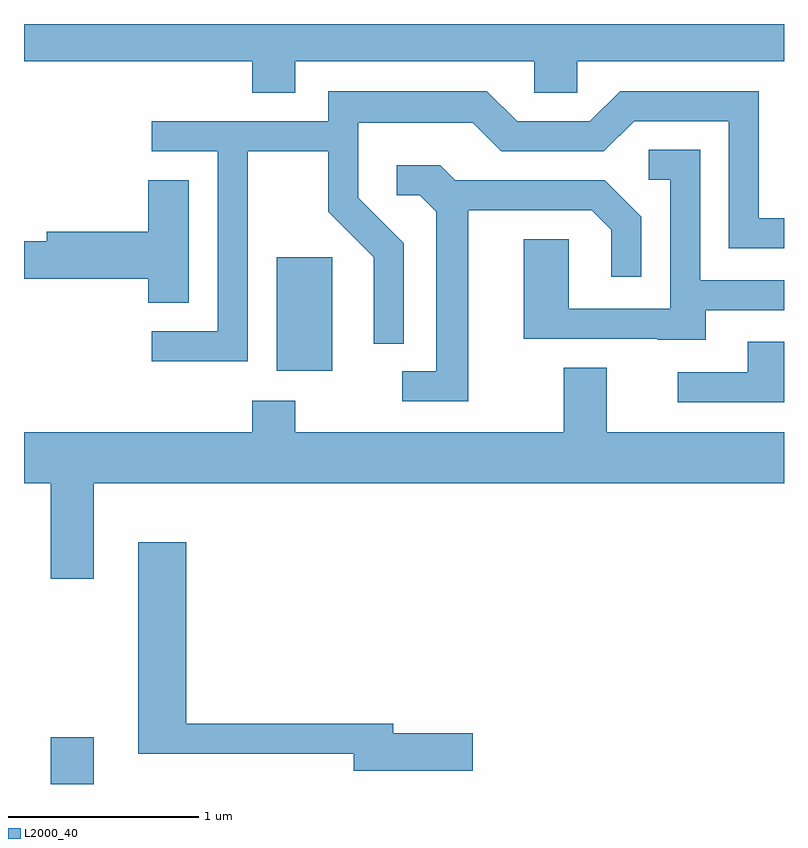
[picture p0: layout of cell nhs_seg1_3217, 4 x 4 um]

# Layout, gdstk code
import gdstk
lib = gdstk.Library(unit=1e-6, precision=1e-09)
def R(c, l, rs):  # rectangles x0, y0, x1, y1
    for r in rs: c.add(gdstk.rectangle(r[:2], r[2:], *l))
def P(c, l, *ps):  # polygons
    for p in ps: c.add(gdstk.Polygon(p, *l))
L2000_40 = (2000, 40)

nhs_seg1_3217 = lib.new_cell('nhs_seg1_3217')
R(nhs_seg1_3217, L2000_40, [(281.751,955.712,281.979,955.959), (282.941,957.886,283.234,958.484)])
P(nhs_seg1_3217, L2000_40, [(283.039,959.516),(284.296,959.516),(284.296,959.351),(284.524,959.351),(284.524,959.516),(285.611,959.516),(285.611,959.712),(281.611,959.712),(281.611,959.516),(282.811,959.516),(282.811,959.351),(283.039,959.351)],
  [(282.789,959.041),(283.211,959.041),(283.211,958.724),(283.451,958.484),(283.451,958.028),(283.609,958.028),(283.609,958.557),(283.369,958.797),(283.369,959.191),(283.974,959.191),(284.124,959.041),(284.662,959.041),(284.822,959.201),(285.321,959.201),(285.321,958.531),(285.611,958.531),(285.611,958.689),(285.479,958.689),(285.479,959.359),(284.749,959.359),(284.589,959.199),(284.207,959.199),(284.047,959.359),(283.211,959.359),(283.211,959.199),(282.283,959.199),(282.283,959.041),(282.631,959.041),(282.631,958.094),(282.283,958.094),(282.283,957.936),(282.789,957.936)],
  [(285.199,958.206),(285.611,958.206),(285.611,958.364),(285.169,958.364),(285.169,959.049),(284.898,959.049),(284.898,958.891),(285.011,958.891),(285.011,958.214),(284.479,958.214),(284.479,958.579),(284.241,958.579),(284.241,958.056),(284.945,958.056),(284.945,958.051),(285.199,958.051)],
  [(283.949,958.731),(284.599,958.731),(284.701,958.629),(284.701,958.383),(284.859,958.383),(284.859,958.697),(284.667,958.889),(283.882,958.889),(283.802,958.969),(283.573,958.969),(283.573,958.811),(283.694,958.811),(283.781,958.724),(283.781,957.884),(283.603,957.884),(283.603,957.726),(283.949,957.726)],
  [(282.479,958.889),(282.266,958.889),(282.266,958.619),(281.731,958.619),(281.731,958.569),(281.611,958.569),(281.611,958.371),(282.266,958.371),(282.266,958.246),(282.479,958.246)],
  [(285.611,958.039),(285.421,958.039),(285.421,957.879),(285.053,957.879),(285.053,957.721),(285.611,957.721)],
  [(281.979,957.296),(285.611,957.296),(285.611,957.564),(284.679,957.564),(284.679,957.904),(284.451,957.904),(284.451,957.564),(283.039,957.564),(283.039,957.729),(282.811,957.729),(282.811,957.564),(281.611,957.564),(281.611,957.296),(281.751,957.296),(281.751,956.791),(281.979,956.791)],
  [(283.974,955.979),(283.554,955.979),(283.554,956.029),(282.464,956.029),(282.464,956.984),(282.211,956.984),(282.211,955.871),(283.346,955.871),(283.346,955.781),(283.974,955.781)])

lib.write_gds('nhs_seg1_3217.gds')
